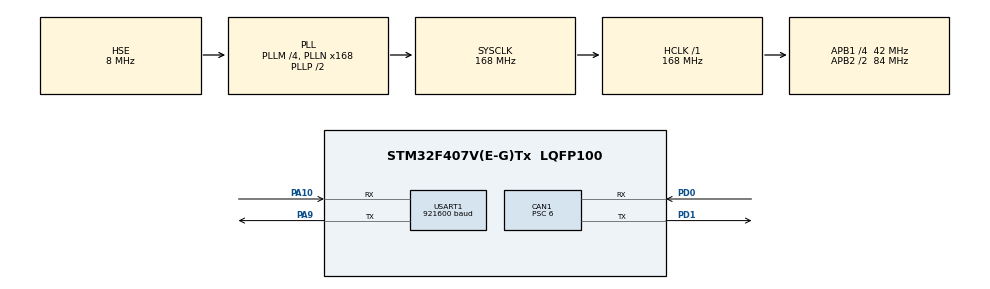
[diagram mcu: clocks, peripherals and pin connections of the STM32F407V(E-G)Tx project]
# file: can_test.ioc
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CAN1.BS1=CAN_BS1_4TQ
CAN1.BS2=CAN_BS2_2TQ
CAN1.CalculateBaudRate=1000000
CAN1.CalculateTimeBit=1000
CAN1.CalculateTimeQuantum=142.85714285714286
CAN1.Prescaler=6
Dma.Request0=USART1_RX
Dma.Request1=USART1_TX
Dma.USART1_RX.0.Direction=DMA_PERIPH_TO_MEMORY
Dma.USART1_RX.0.FIFOMode=DMA_FIFOMODE_DISABLE
Dma.USART1_RX.0.Instance=DMA2_Stream2
Dma.USART1_RX.0.MemDataAlignment=DMA_MDATAALIGN_BYTE
Dma.USART1_RX.0.MemInc=DMA_MINC_ENABLE
Dma.USART1_RX.0.Mode=DMA_NORMAL
Dma.USART1_RX.0.PeriphDataAlignment=DMA_PDATAALIGN_BYTE
Dma.USART1_RX.0.PeriphInc=DMA_PINC_DISABLE
Dma.USART1_RX.0.Priority=DMA_PRIORITY_LOW
Dma.USART1_TX.1.Direction=DMA_MEMORY_TO_PERIPH
Dma.USART1_TX.1.FIFOMode=DMA_FIFOMODE_DISABLE
Dma.USART1_TX.1.Instance=DMA2_Stream7
Dma.USART1_TX.1.MemDataAlignment=DMA_MDATAALIGN_BYTE
Dma.USART1_TX.1.MemInc=DMA_MINC_ENABLE
Dma.USART1_TX.1.Mode=DMA_NORMAL
Dma.USART1_TX.1.PeriphDataAlignment=DMA_PDATAALIGN_BYTE
Dma.USART1_TX.1.PeriphInc=DMA_PINC_DISABLE
Dma.USART1_TX.1.Priority=DMA_PRIORITY_LOW
Mcu.Family=STM32F4
Mcu.Name=STM32F407V(E-G)Tx
Mcu.Package=LQFP100
NVIC.CAN1_RX0_IRQn=true\:0\:0\:false\:false\:true\:true\:true\:true
NVIC.DMA2_Stream2_IRQn=true\:0\:0\:false\:false\:true\:false\:true\:true
NVIC.DMA2_Stream7_IRQn=true\:0\:0\:false\:false\:true\:false\:true\:true
NVIC.PriorityGroup=NVIC_PRIORITYGROUP_4
NVIC.USART1_IRQn=true\:0\:0\:false\:false\:true\:true\:true\:true
PA10.Mode=Asynchronous
PA10.Signal=USART1_RX
PA13.Mode=Serial_Wire
PA13.Signal=SYS_JTMS-SWDIO
PA14.Mode=Serial_Wire
PA14.Signal=SYS_JTCK-SWCLK
PA9.Mode=Asynchronous
PA9.Signal=USART1_TX
PD0.Mode=CAN_Activate
PD0.Signal=CAN1_RX
PD1.Mode=CAN_Activate
PD1.Signal=CAN1_TX
PH0-OSC_IN.Mode=HSE-External-Oscillator
PH0-OSC_IN.Signal=RCC_OSC_IN
PH1-OSC_OUT.Mode=HSE-External-Oscillator
PH1-OSC_OUT.Signal=RCC_OSC_OUT
ProjectManager.HeapSize=0x200
ProjectManager.StackSize=0x400
ProjectManager.TargetToolchain=MDK-ARM V5.32
RCC.48MHZClocksFreq_Value=84000000
RCC.AHBFreq_Value=168000000
RCC.APB1CLKDivider=RCC_HCLK_DIV4
RCC.APB1Freq_Value=42000000
RCC.APB1TimFreq_Value=84000000
RCC.APB2CLKDivider=RCC_HCLK_DIV2
RCC.APB2Freq_Value=84000000
RCC.APB2TimFreq_Value=168000000
RCC.CortexFreq_Value=168000000
RCC.HCLKFreq_Value=168000000
RCC.HSE_VALUE=8000000
RCC.HSI_VALUE=16000000
RCC.LSE_VALUE=32768
RCC.PLLM=4
RCC.PLLN=168
RCC.PLLSourceVirtual=RCC_PLLSOURCE_HSE
RCC.SYSCLKFreq_VALUE=168000000
RCC.SYSCLKSource=RCC_SYSCLKSOURCE_PLLCLK
RCC.VCOOutputFreq_Value=336000000
USART1.BaudRate=921600
USART1.VirtualMode=VM_ASYNC
board=custom

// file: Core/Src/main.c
/* USER CODE BEGIN Header */
/**
  ******************************************************************************
  * @file           : main.c
  * @brief          : Main program body
  ******************************************************************************
  * @attention
  *
  * Copyright (c) 2023 STMicroelectronics.
  * All rights reserved.
  *
  * This software is licensed under terms that can be found in the LICENSE file
  * in the root directory of this software component.
  * If no LICENSE file comes with this software, it is provided AS-IS.
  *
  ******************************************************************************
  */
/* USER CODE END Header */
#include "main.h"
#include "can.h"
#include "dma.h"
#include "usart.h"
#include "gpio.h"

void SystemClock_Config(void);

/* USER CODE BEGIN 0 */
#include <string.h>
#include "stdio.h"
//重定向print
int fputc(int ch, FILE *f) //重定向printf函数
{
    HAL_UART_Transmit(&huart1, (void*)&ch, 1, 1000);
    return ch;
}

CAN_TxHeaderTypeDef TxHeader;
CAN_RxHeaderTypeDef	RxHeader;

float dis;

uint8_t	can_rx_buf[8];
uint8_t can_tx_buf[8] = {0xff,0xff,0xff,0x00,0xff,0xff,0xff,0xff};	//查询命令

void tof_can_init(void)
{
	CAN_FilterTypeDef  sFilterConfig;

	sFilterConfig.FilterActivation = ENABLE;
	sFilterConfig.FilterBank = 0;
	sFilterConfig.FilterMode = CAN_FILTERMODE_IDMASK;
	sFilterConfig.FilterScale = CAN_FILTERSCALE_32BIT;
	sFilterConfig.FilterFIFOAssignment = CAN_FILTER_FIFO0;
	sFilterConfig.FilterIdHigh = 0x0000;
	sFilterConfig.FilterIdLow = 0x0000;
	sFilterConfig.FilterMaskIdHigh = 0x0000;
	sFilterConfig.FilterMaskIdLow = 0x0000;

	if(HAL_CAN_ConfigFilter(&hcan1, &sFilterConfig) != HAL_OK){while(1){ }}
	if(HAL_CAN_Start(&hcan1) != HAL_OK){while(1){ }}
	if(HAL_CAN_ActivateNotification(&hcan1, CAN_IT_RX_FIFO0_MSG_PENDING) != HAL_OK){while(1){ }}

}

void sendto_TOF(uint8_t id)
{
    TxHeader.StdId=0x402;	//查询标准帧ID
	TxHeader.ExtId=0;
	TxHeader.IDE=CAN_ID_STD;
	TxHeader.RTR=CAN_RTR_DATA;
	TxHeader.DLC=8;

    can_tx_buf[3] = id;
    HAL_CAN_AddTxMessage(&hcan1, &TxHeader, can_tx_buf, (uint32_t*)CAN_TX_MAILBOX0);
}

void HAL_CAN_RxFifo0MsgPendingCallback(CAN_HandleTypeDef *hcan)
{
	uint8_t id;
	if(hcan->Instance==CAN1)
	{
		HAL_CAN_GetRxMessage(&hcan1,CAN_FILTER_FIFO0,&RxHeader,can_rx_buf);//获取数据
        if ((RxHeader.StdId & 0x200) == 0x200)
        {
            id = RxHeader.StdId & 0xFF;
            dis = ((int32_t)(can_rx_buf[0] << 8 | can_rx_buf[1] << 16 | can_rx_buf[2] << 24)/256) / 1000.0f;
            printf("CAN： %0.2f\r\n", dis);
        }
	}
}

/* USER CODE END 0 */

int main(void)
{

  /* MCU Configuration--------------------------------------------------------*/

  /* Reset of all peripherals, Initializes the Flash interface and the Systick. */
  HAL_Init();

  /* Configure the system clock */
  SystemClock_Config();

  /* Initialize all configured peripherals */
  MX_GPIO_Init();
  MX_DMA_Init();
  MX_CAN1_Init();
  MX_USART1_UART_Init();
  /* USER CODE BEGIN 2 */
    tof_can_init();
  /* USER CODE END 2 */

  /* Infinite loop */
  /* USER CODE BEGIN WHILE */
  while (1)
  {
//查询模式需要发送指令
/*
      for(int i = 0;i < 8;i++)
      {
        sendto_TOF(i);
        HAL_Delay(10);//can波特率很低的时候这里要加延迟
      }

      */
    /* USER CODE END WHILE */

  }
}

void SystemClock_Config(void)
{
  RCC_OscInitTypeDef RCC_OscInitStruct = {0};
  RCC_ClkInitTypeDef RCC_ClkInitStruct = {0};

  /** Configure the main internal regulator output voltage
  */
  __HAL_RCC_PWR_CLK_ENABLE();
  __HAL_PWR_VOLTAGESCALING_CONFIG(PWR_REGULATOR_VOLTAGE_SCALE1);

  /** Initializes the RCC Oscillators according to the specified parameters
  * in the RCC_OscInitTypeDef structure.
  */
  RCC_OscInitStruct.OscillatorType = RCC_OSCILLATORTYPE_HSE;
  RCC_OscInitStruct.HSEState = RCC_HSE_ON;
  RCC_OscInitStruct.PLL.PLLState = RCC_PLL_ON;
  RCC_OscInitStruct.PLL.PLLSource = RCC_PLLSOURCE_HSE;
  RCC_OscInitStruct.PLL.PLLM = 4;
  RCC_OscInitStruct.PLL.PLLN = 168;
  RCC_OscInitStruct.PLL.PLLP = RCC_PLLP_DIV2;
  RCC_OscInitStruct.PLL.PLLQ = 4;
  if (HAL_RCC_OscConfig(&RCC_OscInitStruct) != HAL_OK)
  {
    Error_Handler();
  }

  /** Initializes the CPU, AHB and APB buses clocks
  */
  RCC_ClkInitStruct.ClockType = RCC_CLOCKTYPE_HCLK|RCC_CLOCKTYPE_SYSCLK
                              |RCC_CLOCKTYPE_PCLK1|RCC_CLOCKTYPE_PCLK2;
  RCC_ClkInitStruct.SYSCLKSource = RCC_SYSCLKSOURCE_PLLCLK;
  RCC_ClkInitStruct.AHBCLKDivider = RCC_SYSCLK_DIV1;
  RCC_ClkInitStruct.APB1CLKDivider = RCC_HCLK_DIV4;
  RCC_ClkInitStruct.APB2CLKDivider = RCC_HCLK_DIV2;

  if (HAL_RCC_ClockConfig(&RCC_ClkInitStruct, FLASH_LATENCY_5) != HAL_OK)
  {
    Error_Handler();
  }
}

void Error_Handler(void)
{
  __disable_irq();
  while (1)
  {
  }
}
